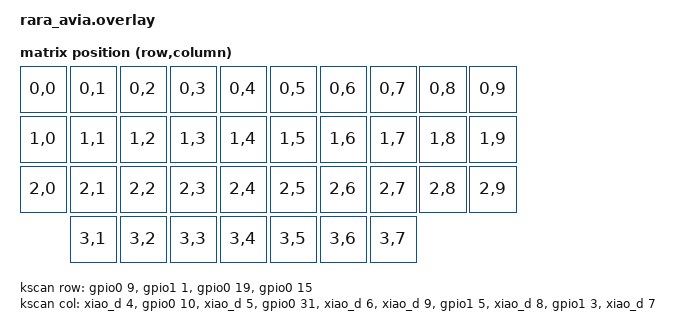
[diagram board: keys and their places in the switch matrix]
/*
 * rara_avia — unibody 4x10 switch matrix on a Seeed XIAO nRF52840 Plus.
 *
 * PCB net -> XIAO pad -> nRF52840 GPIO (per the Seeed Plus pinout):
 *   rows : row0 = D14 = P0.09   row1 = D13 = P1.01
 *          row2 = D12 = P0.19   row3 = D11 = P0.15
 *   cols : col0 = D4  = P0.04   col1 = D15 = P0.10   col2 = D5  = P0.05
 *          col3 = D16 = P0.31   col4 = D6  = P1.11   col5 = D9  = P1.14
 *          col6 = D18 = P1.05   col7 = D8  = P1.13   col8 = D17 = P1.03
 *          col9 = D7  = P1.12
 *
 * D0..D10 go through the board's &xiao_d nexus; D11..D19 exist only on the
 * Plus and have no board definition in ZMK v0.3, so they use raw GPIOs.
 *
 * Diodes are col2row (anode on the column, cathode on the row): columns are
 * driven high, rows are pulled-down inputs.
 *
 * Not in the matrix (from the schematic, unused for now): encoder A = D0,
 * B = D19; CS/MOSI/SCL bus on D1/D2/D3.
 */

#include <dt-bindings/zmk/matrix_transform.h>

#include "rara_avia-layouts.dtsi"

/*
 * D16 / P0.31 doubles as the battery-voltage divider tap (AIN7) in the XIAO
 * board definition, and COLUMN 3 is wired to D16. Retire the battery sensor so
 * the ADC never reconfigures P0.31 behind the kscan's back — this gives up
 * battery reporting until COLUMN 3 moves to another pad on a future PCB rev.
 */
&vbatt {
    status = "disabled";
};

/ {
    chosen {
        /delete-property/ zmk,battery;
        zmk,physical-layout = &default_layout;
    };

    kscan: kscan {
        compatible = "zmk,kscan-gpio-matrix";
        diode-direction = "col2row";
        wakeup-source;

        col-gpios
            = <&xiao_d 4 GPIO_ACTIVE_HIGH>                       /* col0  D4   P0.04 */
            , <&gpio0 10 GPIO_ACTIVE_HIGH>                       /* col1  D15  P0.10 */
            , <&xiao_d 5 GPIO_ACTIVE_HIGH>                       /* col2  D5   P0.05 */
            , <&gpio0 31 GPIO_ACTIVE_HIGH>                       /* col3  D16  P0.31 */
            , <&xiao_d 6 GPIO_ACTIVE_HIGH>                       /* col4  D6   P1.11 */
            , <&xiao_d 9 GPIO_ACTIVE_HIGH>                       /* col5  D9   P1.14 */
            , <&gpio1  5 GPIO_ACTIVE_HIGH>                       /* col6  D18  P1.05 */
            , <&xiao_d 8 GPIO_ACTIVE_HIGH>                       /* col7  D8   P1.13 */
            , <&gpio1  3 GPIO_ACTIVE_HIGH>                       /* col8  D17  P1.03 */
            , <&xiao_d 7 GPIO_ACTIVE_HIGH>                       /* col9  D7   P1.12 */
            ;

        row-gpios
            = <&gpio0 9  (GPIO_ACTIVE_HIGH | GPIO_PULL_DOWN)>    /* row0  D14  P0.09 */
            , <&gpio1 1  (GPIO_ACTIVE_HIGH | GPIO_PULL_DOWN)>    /* row1  D13  P1.01 */
            , <&gpio0 19 (GPIO_ACTIVE_HIGH | GPIO_PULL_DOWN)>    /* row2  D12  P0.19 */
            , <&gpio0 15 (GPIO_ACTIVE_HIGH | GPIO_PULL_DOWN)>    /* row3  D11  P0.15 */
            ;
    };

    default_transform: default_transform {
        compatible = "zmk,matrix-transform";
        columns = <10>;
        rows = <4>;

        /* Keymap order, in physical reading order. Row 3 has no col0/col8/col9. */
        map = <
            RC(0,0) RC(0,1) RC(0,2) RC(0,3) RC(0,4)   RC(0,5) RC(0,6) RC(0,7) RC(0,8) RC(0,9)
            RC(1,0) RC(1,1) RC(1,2) RC(1,3) RC(1,4)   RC(1,5) RC(1,6) RC(1,7) RC(1,8) RC(1,9)
            RC(2,0) RC(2,1) RC(2,2) RC(2,3) RC(2,4)   RC(2,5) RC(2,6) RC(2,7) RC(2,8) RC(2,9)
                    RC(3,1) RC(3,2) RC(3,3) RC(3,4)   RC(3,5) RC(3,6) RC(3,7)
        >;
    };
};
